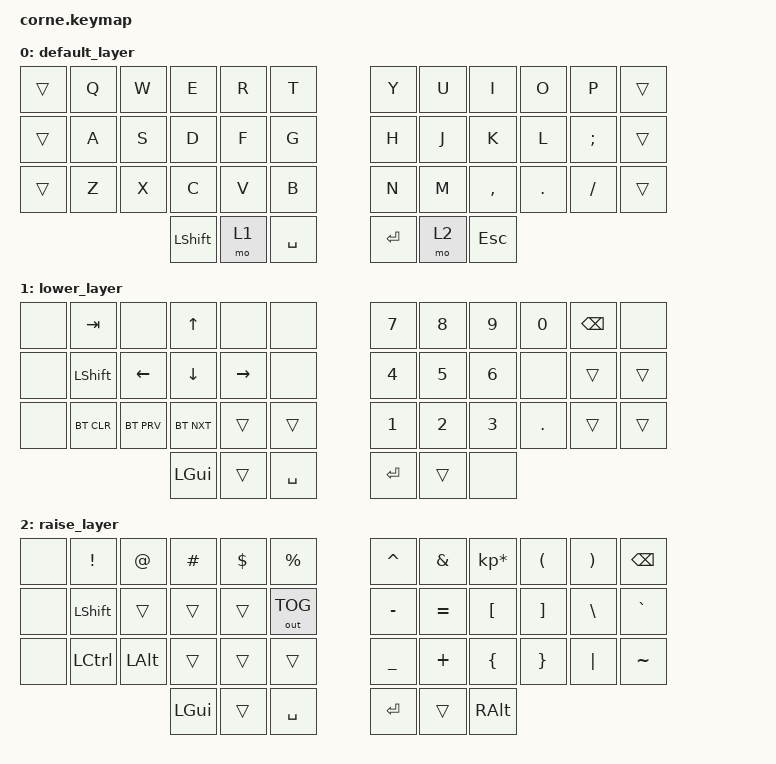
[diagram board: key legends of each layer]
/*
 * Copyright (c) 2020 The ZMK Contributors
 *
 * SPDX-License-Identifier: MIT
 */

#include <behaviors.dtsi>
#include <dt-bindings/zmk/bt.h>
#include <dt-bindings/zmk/keys.h>
#include <dt-bindings/zmk/outputs.h>

/ {
    keymap {
        compatible = "zmk,keymap";

        default_layer {
            // -----------------------------------------------------------------------------------------
            // |  TAB |  Q  |  W  |  E  |  R  |  T  |   |  Y  |  U   |  I  |  O  |  P  | BKSP |
            // | CTRL |  A  |  S  |  D  |  F  |  G  |   |  H  |  J   |  K  |  L  |  ;  |  '   |
            // | SHFT |  Z  |  X  |  C  |  V  |  B  |   |  N  |  M   |  ,  |  .  |  /  | ESC  |
            //                    | GUI | LWR | SPC |   | ENT | RSE  | ALT |

            bindings = <
&trans  &kp Q  &kp W  &kp E           &kp R  &kp T        &kp Y    &kp U  &kp I      &kp O    &kp P     &trans
&trans  &kp A  &kp S  &kp D           &kp F  &kp G        &kp H    &kp J  &kp K      &kp L    &kp SEMI  &trans
&trans  &kp Z  &kp X  &kp C           &kp V  &kp B        &kp N    &kp M  &kp COMMA  &kp DOT  &kp FSLH  &trans
                      &kp LEFT_SHIFT  &mo 1  &kp SPACE    &kp RET  &mo 2  &kp ESC
            >;
        };

        lower_layer {
            // -----------------------------------------------------------------------------------------
            // |  TAB |  1  |  2  |  3  |  4  |  5  |   |  6  |  7  |  8  |  9  |  0  | BKSP |
            // | BTCLR| BT1 | BT2 | BT3 | BT4 | BT5 |   | LFT | DWN |  UP | RGT |     |      |
            // | SHFT |     |     |     |     |     |   |     |     |     |     |     |      |
            //                    | GUI |     | SPC |   | ENT |     | ALT |

            bindings = <
&none  &kp TAB         &none           &kp UP      &none            &none        &kp N7        &kp NUMBER_8  &kp N9        &kp N0      &kp BACKSPACE  &none
&none  &kp LEFT_SHIFT  &kp LEFT_ARROW  &kp DOWN    &kp RIGHT_ARROW  &none        &kp NUMBER_4  &kp N5        &kp NUMBER_6  &none       &trans         &trans
&none  &bt BT_CLR      &bt BT_PRV      &bt BT_NXT  &trans           &trans       &kp NUMBER_1  &kp NUMBER_2  &kp NUMBER_3  &kp PERIOD  &trans         &trans
                                       &kp LGUI    &trans           &kp SPACE    &kp RET       &trans        &none
            >;
        };

        raise_layer {
            // -----------------------------------------------------------------------------------------
            // |  TAB |  !  |  @  |  #  |  $  |  %  |   |  ^  |  &  |  *  |  (  |  )  | BKSP |
            // | CTRL |     |     |     |     |     |   |  -  |  =  |  [  |  ]  |  \  |  `   |
            // | SHFT |     |     |     |     |     |   |  _  |  +  |  {  |  }  | "|" |  ~   |
            //                    | GUI |     | SPC |   | ENT |     | ALT |

            bindings = <
&none  &kp EXCL          &kp AT        &kp HASH  &kp DLLR  &kp PRCNT       &kp CARET  &kp AMPS   &kp KP_MULTIPLY  &kp LPAR  &kp RPAR  &kp BSPC
&none  &kp LEFT_SHIFT    &trans        &trans    &trans    &out OUT_TOG    &kp MINUS  &kp EQUAL  &kp LBKT         &kp RBKT  &kp BSLH  &kp GRAVE
&none  &kp LEFT_CONTROL  &kp LEFT_ALT  &trans    &trans    &trans          &kp UNDER  &kp PLUS   &kp LBRC         &kp RBRC  &kp PIPE  &kp TILDE
                                       &kp LGUI  &trans    &kp SPACE       &kp RET    &trans     &kp RALT
            >;
        };
    };
};
